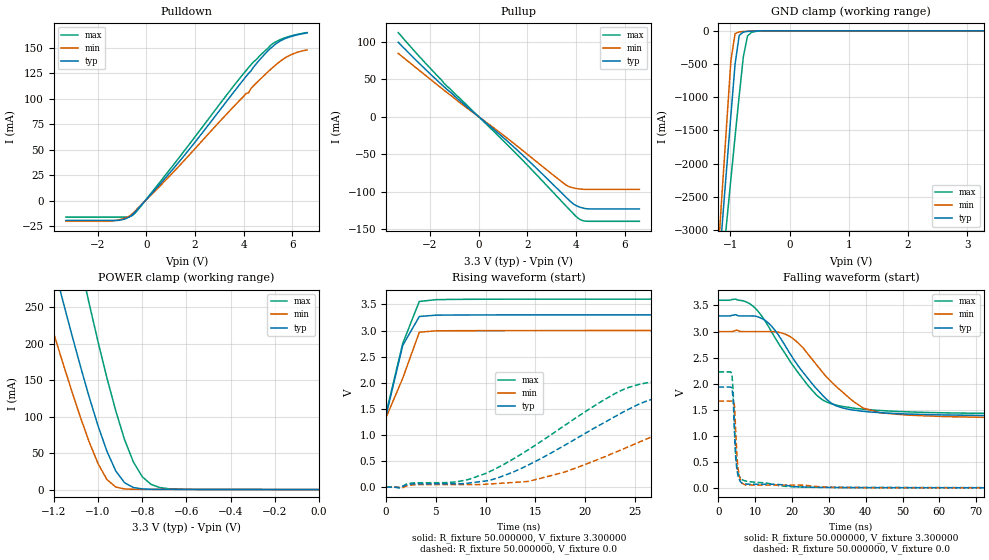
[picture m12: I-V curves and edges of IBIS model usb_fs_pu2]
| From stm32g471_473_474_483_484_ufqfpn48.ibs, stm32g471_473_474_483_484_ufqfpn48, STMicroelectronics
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|   Model usb_fs_pu2
[Model]  usb_fs_pu2
Model_type I/O
Polarity   Non-Inverting
Enable   Active-Low
Vinl =   0.990000V
Vinh =   2.310000V
Vmeas =  1.650000V
Cref =   30.000000pF
Rref =   100.000000M
Vref =   0.0V
C_comp   6.217500pF   6.165300pF   6.599700pF
[Temperature Range]   25.000000   -40.000000   0.125000k
[Pullup Reference]   3.300000V   3.000000V   3.600000V
[Pulldown Reference]   0.0V   0.0V   0.0V
[POWER Clamp Reference]   3.300000V   3.000000V   3.600000V
[GND Clamp Reference]   0.0V   0.0V   0.0V
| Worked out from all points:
|   slope of the pulldown table from 0 to 0.495 V, typ, clamps not added: 37.3 ohm
|   slope of the pullup table from 0 to 0.495 V, typ, clamps not added: 36.7 ohm
|   GND clamp passes 1 mA (typ) near -0.52 V on its own axis
|   POWER clamp passes 1 mA (typ) near -0.80 V on its own axis
|   rising waveform, R_fixture 50.000000, V_fixture 3.300000: 20-80 % time 1.8ns typ, 2.03ns min, 1.98ns max; typ from 1.38 V to 3.3 V
|   rising waveform, R_fixture 50.000000, V_fixture 0.0: 20-80 % time 11.1ns typ, 13ns min, 11ns max; typ from 0.005 V to 1.94 V
|   falling waveform, R_fixture 50.000000, V_fixture 3.300000: 20-80 % time 12ns typ, 13.3ns min, 12.7ns max; typ from 3.3 V to 1.38 V
|   falling waveform, R_fixture 50.000000, V_fixture 0.0: 20-80 % time 855ps typ, 877ps min, 927ps max; typ from 1.94 V to 0.005 V
[Pulldown]
|Voltage   I(typ)   I(min)   I(max)
-3.3V     -19.3mA    -20.1mA    -16mA
-1.4V     -19.3mA    -19.8mA    -16mA
-900mV    -17.99mA   -17.07mA   -16mA
-500mV    -12.2mA    -11.02mA   -13.03mA
1.5V      42.59mA    37.97mA    47.01mA
4.1V      121.9mA    105.2mA    127.7mA
4.2V      124.8mA    105.7mA    130.5mA
4.4V      130.8mA    112.5mA    136mA
5.1V      149.3mA    128.6mA    152.3mA
5.4V      155.1mA    134.8mA    156.8mA
6V        161.3mA    143.7mA    161.9mA
6.6V      164.5mA    147.8mA    164.8mA
[Pullup]
|Voltage   I(typ)   I(min)   I(max)
-3.3V     99.4mA     84.4mA     112.3mA
-2.2V     63.7mA     55.7mA     72.1mA
-1.4V     39.39mA    34.82mA    43.83mA
1.4V      -39.18mA   -34.55mA   -44.71mA
3.5V      -104.8mA   -89.14mA   -116.3mA
3.7V      -111.1mA   -93.32mA   -123.2mA
3.9V      -116.8mA   -95.25mA   -130mA
4.1V      -120.2mA   -96.5mA    -136mA
4.3V      -122.2mA   -97mA      -139.1mA
4.5V      -123.2mA   -97.2mA    -139.8mA
6.6V      -123.3mA   -97.2mA    -139.8mA
[GND_clamp]
|Voltage   I(typ)   I(min)   I(max)
-3.3V     -10A       -9.932A    -9.409A
-1.2V     -3.625A    -3.264A    -4.165A
-1.13V    -2.833A    -2.317A    -3.515A
-1.06V    -2.046A    -1.375A    -2.868A
-990mV    -1.266A    -445.1mA   -2.226A
-920mV    -503.5mA   -41.44mA   -1.593A
-850mV    -68.23mA   -15.9mA    -976.3mA
-780mV    -18.22mA   -9.77mA    -388mA
-710mV    -9.477mA   -5.248mA   -77.72mA
-640mV    -5.151mA   -2.055mA   -21.58mA
-360mV    -11.68uA   -97.01nA   -423.1uA
3.28V     0A         0A         0A
[POWER_clamp]
|Voltage   I(typ)   I(min)   I(max)
-3.28V    2.967A     2.441A     3.783A
-1.28V    402.5mA    294.2mA    599.9mA
-1.24V    354.3mA    253.7mA    540.2mA
-1.16V    259.8mA    174.5mA    422.9mA
-1.08V    169.5mA    99.52mA    309.5mA
-1.04V    127mA      65.29mA    255.1mA
-960mV    52.78mA    13.86mA    153.4mA
-920mV    25.71mA    3.51mA     108.3mA
-840mV    2.833mA    443.5uA    37.81mA
-760mV    492uA      320.3uA    7.132mA
-640mV    291.2uA    250.7uA    605.4uA
0V        0A         0A         68.97nA
[Ramp]
| variable   typ   min   max
dV/dt_r  1.15831/11.06859n   0.99775/12.97883n   1.33067/10.98437n
dV/dt_f  1.15044/11.97196n   0.99606/13.26559n   1.30584/12.55105n
R_load = 50.000000
[Rising Waveform]
R_fixture= 50.000000
V_fixture= 3.300000
V_fixture_min= 3.000000
V_fixture_max= 3.600000
|time   V(typ)   V(min)   V(max)
0s        1.382V     1.339V     1.424V
1.668ns   2.715V     2.088V     2.755V
3.337ns   3.268V     2.967V     3.555V
5.005ns   3.294V     2.994V     3.59V
15.02ns   3.299V     2.999V     3.599V
165.2ns   3.3V       3V         3.6V
[Rising Waveform]
R_fixture= 50.000000
V_fixture= 0.0
V_fixture_min= 0.0
V_fixture_max= 0.0
|time   V(typ)   V(min)   V(max)
0s        5.374mV    3.579mV    8.921mV
8.342ns   84.44mV    55.17mV    154.5mV
11.01ns   169.4mV    73.13mV    357.7mV
14.35ns   433.1mV    116.8mV    726.2mV
24.02ns   1.46V      749mV      1.885V
27.36ns   1.715V     1.018V     2.033V
31.36ns   1.814V     1.321V     2.107V
36.37ns   1.867V     1.532V     2.157V
49.38ns   1.918V     1.633V     2.211V
166.2ns   1.936V     1.667V     2.227V
[Falling Waveform]
R_fixture= 50.000000
V_fixture= 3.300000
V_fixture_min= 3.000000
V_fixture_max= 3.600000
|time   V(typ)   V(min)   V(max)
0s        3.3V       3V         3.6V
7.674ns   3.299V     2.999V     3.564V
13.01ns   3.196V     3V         3.163V
19.35ns   2.586V     2.907V     2.441V
25.69ns   1.979V     2.446V     1.855V
29.36ns   1.7V       2.129V     1.652V
33.37ns   1.544V     1.861V     1.569V
39.37ns   1.471V     1.531V     1.511V
51.38ns   1.419V     1.398V     1.461V
166.2ns   1.382V     1.339V     1.424V
[Falling Waveform]
R_fixture= 50.000000
V_fixture= 0.0
V_fixture_min= 0.0
V_fixture_max= 0.0
|time   V(typ)   V(min)   V(max)
0s        1.936V     1.667V     2.227V
3.67ns    1.915V     1.667V     2.172V
4.004ns   1.694V     1.667V     1.828V
4.338ns   1.079V     1.587V     1.201V
4.671ns   583mV      1.121V     679mV
5.005ns   342.9mV    616.6mV    412.3mV
5.672ns   157.8mV    217.4mV    227.7mV
7.674ns   75.59mV    58.49mV    130.2mV
25.69ns   14.1mV     36.83mV    16.74mV
166.2ns   5.374mV    3.579mV    8.921mV
